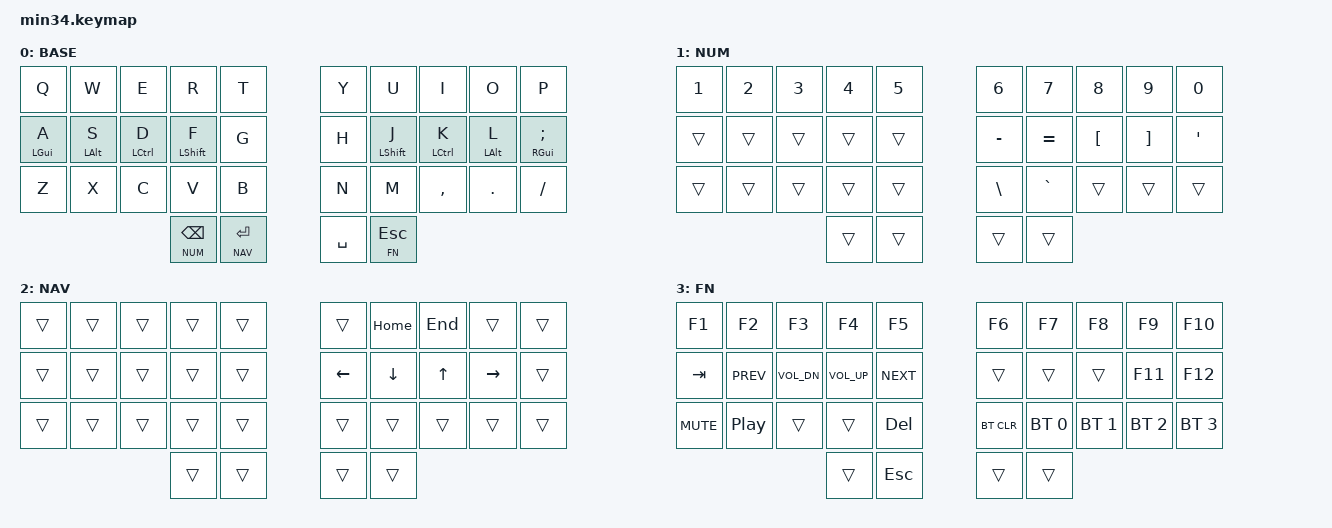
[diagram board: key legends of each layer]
/*
 * Copyright (c) 2020 The ZMK Contributors
 *
 * SPDX-License-Identifier: MIT
 */

#include <behaviors.dtsi>
#include <dt-bindings/zmk/keys.h>
#include <dt-bindings/zmk/bt.h>

#define BASE 0
#define NUM 1
#define NAV 2
#define FN 3

&lt { quick_tap_ms = <180>; };

/ {
    behaviors {
        hm: homerow_mods {
            compatible = "zmk,behavior-hold-tap";
            label = "homerow mods";
            #binding-cells = <2>;
            tapping_term_ms = <250>;
            flavor = "tap-preferred";
            bindings = <&kp>, <&kp>;
        };
    };

    keymap {
        compatible = "zmk,keymap";

        BASE {
            bindings = <
                &kp Q       &kp W       &kp E       &kp R       &kp T          &kp Y      &kp U       &kp I        &kp O       &kp P
                &hm LGUI A &hm LALT S   &hm LCTRL D &hm LSHFT F &kp G          &kp H      &hm LSHFT J &hm LCTRL K  &hm LALT L  &hm RGUI SEMI
                &kp Z       &kp X       &kp C       &kp V       &kp B          &kp N      &kp M       &kp COMMA    &kp DOT     &kp FSLH
                                                   &lt NUM BSPC &lt NAV ENTER  &kp SPC    &lt FN ESC
            >;
        };

        NUM {
            bindings = <
                &kp N1  &kp N2       &kp N3      &kp N4      &kp N5      &kp N6     &kp N7      &kp N8      &kp N9     &kp N0
                &trans  &trans       &trans      &trans      &trans      &kp MINUS  &kp EQL     &kp LBKT    &kp RBKT   &kp SQT
                &trans  &trans       &trans      &trans      &trans      &kp BSLH   &kp GRAV    &trans      &trans     &trans
                                                 &trans      &trans      &trans     &trans
            >;
        };

        NAV {
            bindings = <
                &trans  &trans       &trans      &trans      &trans     &trans    &kp HOME     &kp END     &trans      &trans
                &trans  &trans       &trans      &trans      &trans     &kp LEFT  &kp DOWN     &kp UP      &kp RIGHT   &trans
                &trans  &trans       &trans      &trans      &trans     &trans    &trans       &trans      &trans      &trans
                                                 &trans      &trans     &trans    &trans
            >;
        };

        FN {
            bindings = <
                &kp F1     &kp F2      &kp F3       &kp F4       &kp F5      &kp F6     &kp F7     &kp F8     &kp F9       &kp F10
                &kp TAB    &kp C_PREV  &kp C_VOL_DN &kp C_VOL_UP &kp C_NEXT  &trans     &trans     &trans     &kp F11      &kp F12
                &kp K_MUTE &kp C_PP    &trans       &trans       &kp DEL     &bt BT_CLR &bt BT_SEL 0 &bt BT_SEL 1 &bt BT_SEL 2 &bt BT_SEL 3
                                                    &trans       &kp ESC     &trans   &trans
            >;
        };
    };
};
